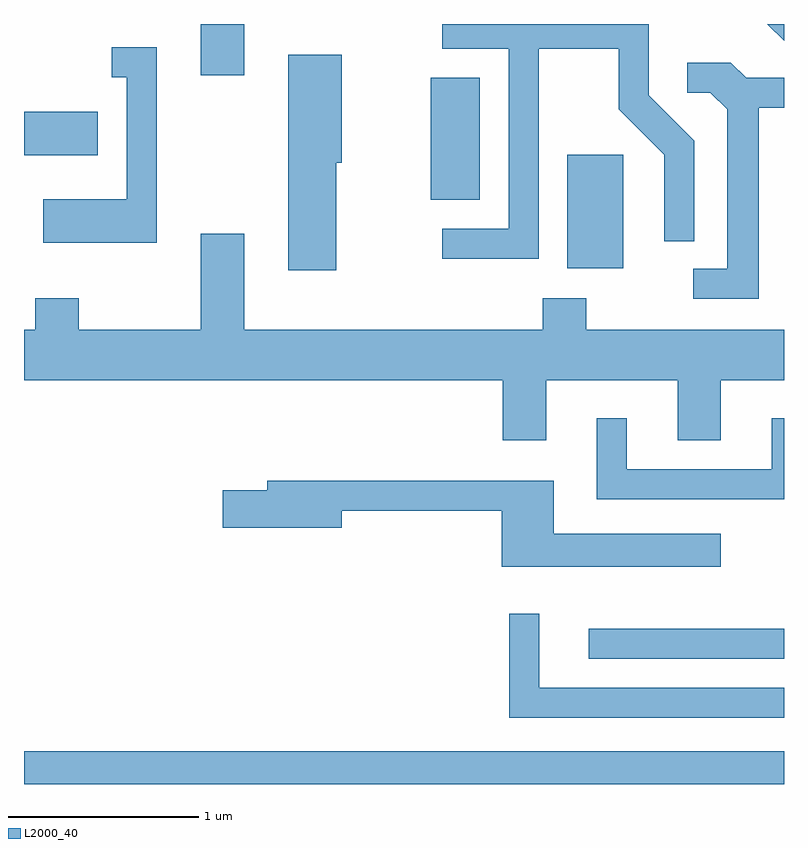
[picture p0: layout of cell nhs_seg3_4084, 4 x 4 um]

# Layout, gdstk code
import gdstk
lib = gdstk.Library(unit=1e-6, precision=1e-09)
def R(c, l, rs):  # rectangles x0, y0, x1, y1
    for r in rs: c.add(gdstk.rectangle(r[:2], r[2:], *l))
def P(c, l, *ps):  # polygons
    for p in ps: c.add(gdstk.Polygon(p, *l))
L2000_40 = (2000, 40)

nhs_seg3_4084 = lib.new_cell('nhs_seg3_4084')
R(nhs_seg3_4084, L2000_40, [(305.611,1123.892,309.611,1124.064), (308.583,1124.551,309.611,1124.709), (308.471,1126.606,308.764,1127.204), (307.751,1126.966,308.009,1127.609), (305.611,1127.201,305.999,1127.429), (306.541,1127.621,306.769,1127.892)])
P(nhs_seg3_4084, L2000_40, [(309.611,1127.892),(309.523,1127.892),(309.611,1127.804)],
  [(308.319,1127.761),(308.741,1127.761),(308.741,1127.444),(308.981,1127.204),(308.981,1126.748),(309.139,1126.748),(309.139,1127.277),(308.899,1127.517),(308.899,1127.892),(307.813,1127.892),(307.813,1127.761),(308.161,1127.761),(308.161,1126.814),(307.813,1126.814),(307.813,1126.656),(308.319,1126.656)],
  [(306.309,1127.769),(306.073,1127.769),(306.073,1127.611),(306.151,1127.611),(306.151,1126.969),(305.711,1126.969),(305.711,1126.741),(306.309,1126.741)],
  [(307.254,1127.161),(307.284,1127.161),(307.284,1127.729),(307.001,1127.729),(307.001,1126.596),(307.254,1126.596)],
  [(309.479,1127.451),(309.611,1127.451),(309.611,1127.609),(309.412,1127.609),(309.332,1127.689),(309.103,1127.689),(309.103,1127.531),(309.224,1127.531),(309.311,1127.444),(309.311,1126.604),(309.133,1126.604),(309.133,1126.446),(309.479,1126.446)],
  [(308.341,1126.284),(306.769,1126.284),(306.769,1126.789),(306.541,1126.789),(306.541,1126.284),(305.899,1126.284),(305.899,1126.449),(305.671,1126.449),(305.671,1126.284),(305.611,1126.284),(305.611,1126.016),(308.131,1126.016),(308.131,1125.701),(308.359,1125.701),(308.359,1126.016),(309.051,1126.016),(309.051,1125.701),(309.279,1125.701),(309.279,1126.016),(309.611,1126.016),(309.611,1126.284),(308.569,1126.284),(308.569,1126.449),(308.341,1126.449)],
  [(309.611,1125.818),(309.546,1125.818),(309.546,1125.549),(308.784,1125.549),(308.784,1125.818),(308.626,1125.818),(308.626,1125.391),(309.611,1125.391)],
  [(309.279,1125.209),(308.399,1125.209),(308.399,1125.489),(306.891,1125.489),(306.891,1125.439),(306.656,1125.439),(306.656,1125.241),(307.284,1125.241),(307.284,1125.331),(308.126,1125.331),(308.126,1125.036),(309.279,1125.036)],
  [(309.611,1124.399),(308.324,1124.399),(308.324,1124.788),(308.166,1124.788),(308.166,1124.241),(309.611,1124.241)])

lib.write_gds('nhs_seg3_4084.gds')
